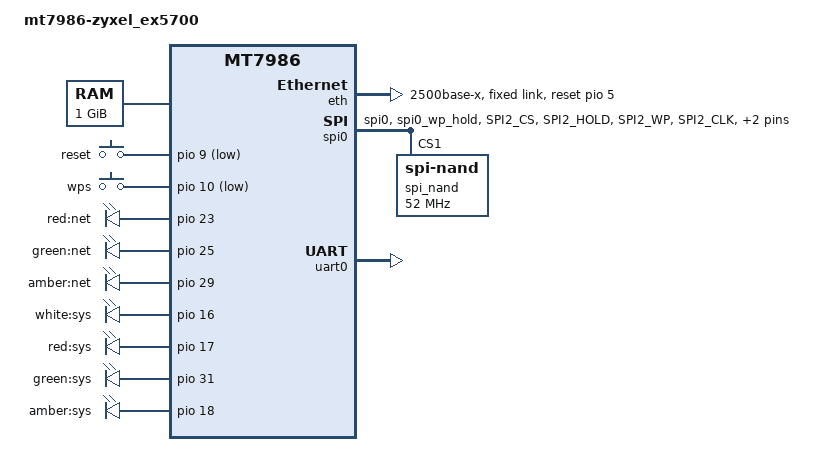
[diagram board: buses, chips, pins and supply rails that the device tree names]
// SPDX-License-Identifier: GPL-2.0-or-later

/dts-v1/;
#include <dt-bindings/input/linux-event-codes.h>
#include "mt7986.dtsi"
#include <dt-bindings/gpio/gpio.h>

/ {
	#address-cells = <1>;
	#size-cells = <1>;
	model = "mt7986-zyxel_ex5700";
	compatible = "mediatek,mt7986", "mediatek,mt7986-rfb";

	chosen {
		stdout-path = &uart0;
		tick-timer = &timer0;
	};

	config {
		bootcmd = "mtkboardboot";
		blink_led = "amber:sys";
		system_led = "green:sys";
	};

	memory@40000000 {
		device_type = "memory";
		reg = <0x40000000 0x40000000>;
	};

	gpio-keys {
		compatible = "gpio-keys";

		reset-button {
			label = "reset";
			gpios = <&pio 9 GPIO_ACTIVE_LOW>;
			linux,code = <KEY_RESTART>;
		};

		wps-button {
			label = "wps";
			gpios = <&pio 10 GPIO_ACTIVE_LOW>;
			linux,code = <KEY_WPS_BUTTON>;
		};
	};

	gpio-leds {
		compatible = "gpio-leds";

		red1 {
			label = "red:net";
			gpios = <&pio 23 GPIO_ACTIVE_HIGH>;
			default-state = "off";
		};

		green1 {
			label = "green:net";
			gpios = <&pio 25 GPIO_ACTIVE_HIGH>;
			default-state = "off";
		};

		amber1 {
			label = "amber:net";
			gpios = <&pio 29 GPIO_ACTIVE_HIGH>;
			default-state = "off";
		};

		white2 {
			label = "white:sys";
			gpios = <&pio 16 GPIO_ACTIVE_HIGH>;
			default-state = "off";
		};

		red2 {
			label = "red:sys";
			gpios = <&pio 17 GPIO_ACTIVE_HIGH>;
			default-state = "off";
		};

		led_status_green: green2 {
			label = "green:sys";
			gpios = <&pio 31 GPIO_ACTIVE_HIGH>;
			default-state = "off";
		};

		led_status_amber: amber2 {
			label = "amber:sys";
			gpios = <&pio 18 GPIO_ACTIVE_HIGH>;
			default-state = "off";
		};
	};

	bl2_verify {
		bl2_compatible = "spim-nand";
	};
};

&eth {
	status = "okay";
	mediatek,gmac-id = <0>;
	phy-mode = "2500base-x";
	mediatek,switch = "auto";
	reset-gpios = <&pio 5 GPIO_ACTIVE_HIGH>;

	fixed-link {
		speed = <2500>;
		full-duplex;
	};
};

&pio {
	spi_flash_pins: spi0-pins-func-1 {
		mux {
			function = "flash";
			groups = "spi0", "spi0_wp_hold";
		};

		conf-pu {
			pins = "SPI2_CS", "SPI2_HOLD", "SPI2_WP";
			drive-strength = <MTK_DRIVE_4mA>;
			bias-pull-up = <MTK_PUPD_SET_R1R0_11>;
		};

		conf-pd {
			pins = "SPI2_CLK", "SPI2_MOSI", "SPI2_MISO";
			drive-strength = <MTK_DRIVE_4mA>;
			bias-pull-down = <MTK_PUPD_SET_R1R0_11>;
		};
	};
};

&spi0 {
	#address-cells = <1>;
	#size-cells = <0>;
	pinctrl-names = "default";
	pinctrl-0 = <&spi_flash_pins>;
	status = "okay";
	must_tx;
	enhance_timing;
	dma_ext;
	ipm_design;
	support_quad;
	tick_dly = <2>;
	sample_sel = <0>;

	spi_nand@0 {
		compatible = "spi-nand";
		reg = <1>;
		spi-max-frequency = <52000000>;
	};
};

&uart0 {
	status = "okay";
};

&watchdog {
	status = "disabled";
};
